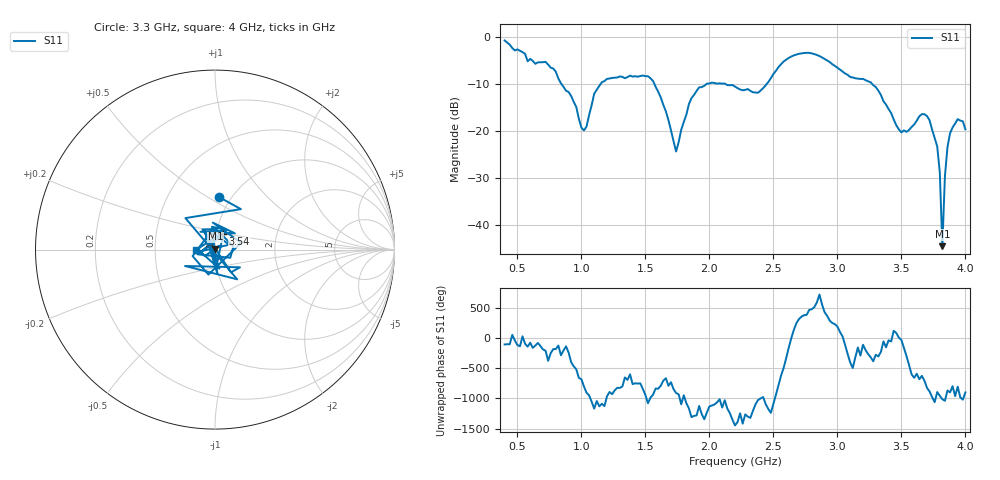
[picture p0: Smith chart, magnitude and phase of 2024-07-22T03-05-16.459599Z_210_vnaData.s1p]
!Created with skrf (http://scikit-rf.org).
# Hz S RI R 50.0
!freq ReS11 ImS11
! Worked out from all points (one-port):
!   181 points, 400 MHz to 4 GHz, reference 50 ohm
!   lowest |S11| = -44.5 dB at 3.82 GHz (marker M1), VSWR 1.01, Z = 50.2 + j0.551 ohm
!   |S11| at or under -10 dB: 1.57 GHz to 1.978 GHz (408.2 MHz wide, 23 % of centre); 2.124 GHz to 2.449 GHz (324.7 MHz wide, 14.2 % of centre); 3.271 GHz to end of sweep (the widest 3 of 4)
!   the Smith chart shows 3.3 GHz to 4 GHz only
!   S11 on the Smith chart (normalised r, x): 3.3 GHz: 0.88, +0.56; 3.54 GHz: 1.08, +0.19; 4 GHz: 0.81, -0.00
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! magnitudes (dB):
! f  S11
! 400 MHz  -0.8
! 720 MHz  -5.3
! 860 MHz  -10.6
! 1.02 GHz  -19.9
! 1.12 GHz  -11.2
! 1.3 GHz  -8.4
! 1.56 GHz  -9.4
! 1.66 GHz  -15.8
! 1.74 GHz  -24.4
! 1.76 GHz  -22.4
! 1.84 GHz  -14.3
! 1.92 GHz  -10.7
! 2.2 GHz  -10.6
! 2.38 GHz  -11.9
! 2.66 GHz  -3.9
! 2.84 GHz  -3.9
! 3.1 GHz  -8.5
! 3.3 GHz  -10.7
! 3.54 GHz  -20.2
! 3.56 GHz  -19.8
! 3.68 GHz  -16.4
! 3.78 GHz  -23.3
! 3.8 GHz  -28.8
! 3.82 GHz  -44.5
! 3.84 GHz  -29.6
! 3.88 GHz  -20.5
! 3.94 GHz  -17.5
! 4 GHz  -19.7
